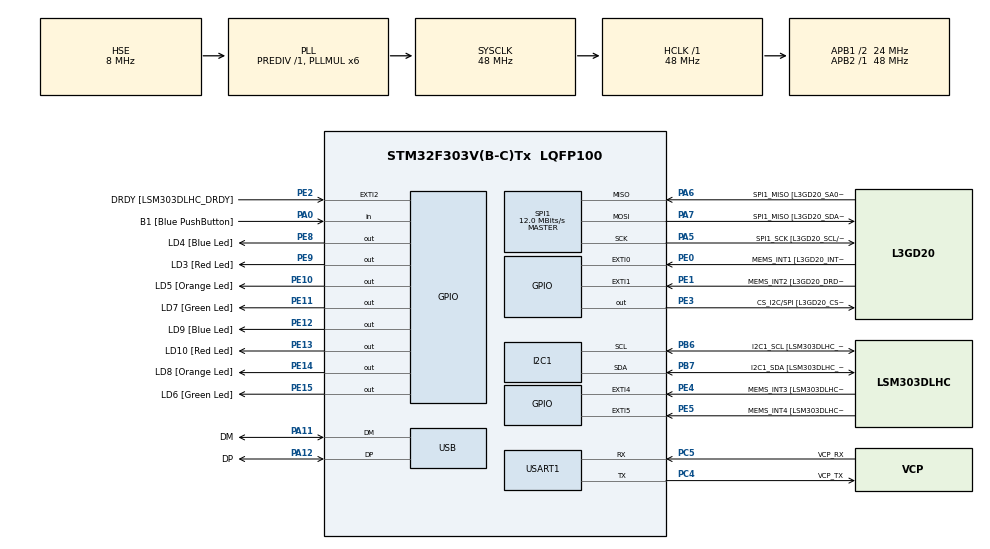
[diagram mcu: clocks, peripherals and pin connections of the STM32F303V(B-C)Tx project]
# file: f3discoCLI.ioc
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I2C1.Timing-I2C=0x2000090E
Mcu.Family=STM32F3
Mcu.Name=STM32F303V(B-C)Tx
Mcu.Package=LQFP100
NVIC.PriorityGroup=NVIC_PRIORITYGROUP_0
PA0.GPIO_Label=B1 [Blue PushButton]
PA0.Signal=GPIO_Input
PA11.GPIO_Label=DM
PA11.Mode=Device
PA11.Signal=USB_DM
PA12.GPIO_Label=DP
PA12.Mode=Device
PA12.Signal=USB_DP
PA13.GPIO_Label=SWDIO
PA13.Mode=Serial_Wire
PA13.Signal=SYS_JTMS-SWDIO
PA14.GPIO_Label=SWCLK
PA14.Mode=Serial_Wire
PA14.Signal=SYS_JTCK-SWCLK
PA5.GPIO_Label=SPI1_SCK [L3GD20_SCL/SPC]
PA5.Mode=Full_Duplex_Master
PA5.Signal=SPI1_SCK
PA6.GPIO_Label=SPI1_MISO [L3GD20_SA0/SDO]
PA6.Mode=Full_Duplex_Master
PA6.Signal=SPI1_MISO
PA7.GPIO_Label=SPI1_MISO [L3GD20_SDA/SDI/SDO]
PA7.Mode=Full_Duplex_Master
PA7.Signal=SPI1_MOSI
PB3.GPIO_Label=SWO
PB3.Signal=SYS_JTDO-TRACESWO
PB6.GPIO_Label=I2C1_SCL [LSM303DLHC_SCL]
PB6.GPIO_Pu=GPIO_PULLUP
PB6.Mode=I2C
PB6.Signal=I2C1_SCL
PB7.GPIO_Label=I2C1_SDA [LSM303DLHC_SDA]
PB7.GPIO_Pu=GPIO_PULLUP
PB7.Mode=I2C
PB7.Signal=I2C1_SDA
PC14-OSC32_IN.GPIO_Label=OSC32_IN
PC14-OSC32_IN.Signal=RCC_OSC32_IN
PC15-OSC32_OUT.GPIO_Label=OSC32_OUT
PC15-OSC32_OUT.Signal=RCC_OSC32_OUT
PC4.GPIO_Label=VCP_TX
PC4.Mode=Asynchronous
PC4.Signal=USART1_TX
PC5.GPIO_Label=VCP_RX
PC5.Mode=Asynchronous
PC5.Signal=USART1_RX
PE0.GPIO_Label=MEMS_INT1 [L3GD20_INT1]
PE0.GPIO_ModeDefaultEXTI=GPIO_MODE_EVT_RISING
PE0.Signal=GPXTI0
PE1.GPIO_Label=MEMS_INT2 [L3GD20_DRDY/INT2]
PE1.GPIO_ModeDefaultEXTI=GPIO_MODE_EVT_RISING
PE1.Signal=GPXTI1
PE10.GPIO_Label=LD5 [Orange Led]
PE10.Signal=GPIO_Output
PE11.GPIO_Label=LD7 [Green Led]
PE11.Signal=GPIO_Output
PE12.GPIO_Label=LD9 [Blue Led]
PE12.Signal=GPIO_Output
PE13.GPIO_Label=LD10 [Red Led]
PE13.Signal=GPIO_Output
PE14.GPIO_Label=LD8 [Orange Led]
PE14.Signal=GPIO_Output
PE15.GPIO_Label=LD6 [Green Led]
PE15.Signal=GPIO_Output
PE2.GPIO_Label=DRDY [LSM303DLHC_DRDY]
PE2.GPIO_ModeDefaultEXTI=GPIO_MODE_EVT_RISING
PE2.Signal=GPXTI2
PE3.GPIO_Label=CS_I2C/SPI [L3GD20_CS_I2C/SPI]
PE3.Signal=GPIO_Output
PE4.GPIO_Label=MEMS_INT3 [LSM303DLHC_INT1]
PE4.GPIO_ModeDefaultEXTI=GPIO_MODE_EVT_RISING
PE4.Signal=GPXTI4
PE5.GPIO_Label=MEMS_INT4 [LSM303DLHC_INT2]
PE5.GPIO_ModeDefaultEXTI=GPIO_MODE_EVT_RISING
PE5.Signal=GPXTI5
PE8.GPIO_Label=LD4 [Blue Led]
PE8.Signal=GPIO_Output
PE9.GPIO_Label=LD3 [Red Led]
PE9.Signal=GPIO_Output
PF0-OSC_IN.GPIO_Label=OSC_IN
PF0-OSC_IN.Mode=HSE-External-Clock-Source
PF0-OSC_IN.Signal=RCC_OSC_IN
PF1-OSC_OUT.GPIO_Label=OSC_OUT
PF1-OSC_OUT.Signal=RCC_OSC_OUT
ProjectManager.HeapSize=0x200
ProjectManager.StackSize=0x400
ProjectManager.TargetToolchain=STM32CubeIDE
RCC.AHBFreq_Value=48000000
RCC.APB1CLKDivider=RCC_HCLK_DIV2
RCC.APB1Freq_Value=24000000
RCC.APB1TimFreq_Value=48000000
RCC.APB2Freq_Value=48000000
RCC.APB2TimFreq_Value=48000000
RCC.CortexFreq_Value=48000000
RCC.HCLKFreq_Value=48000000
RCC.HSE_VALUE=8000000
RCC.HSI_VALUE=8000000
RCC.LSE_VALUE=32768
RCC.PLLMUL=RCC_PLL_MUL6
RCC.SYSCLKFreq_VALUE=48000000
RCC.SYSCLKSourceVirtual=RCC_SYSCLKSOURCE_PLLCLK
RCC.USBFreq_Value=48000000
SPI1.BaudRatePrescaler=SPI_BAUDRATEPRESCALER_4
SPI1.BaudRatePrescaler-Full_Duplex_Master=SPI_BAUDRATEPRESCALER_2
SPI1.CalculateBaudRate=12.0 MBits/s
SPI1.CalculateBaudRate-Full_Duplex_Master=24.0 MBits/s
SPI1.Direction=SPI_DIRECTION_2LINES
SPI1.Mode=SPI_MODE_MASTER
SPI1.Mode-Full_Duplex_Master=SPI_MODE_MASTER
SPI1.VirtualType=VM_MASTER
USART1.VirtualMode-Asynchronous=VM_ASYNC
board=STM32F3DISCOVERY

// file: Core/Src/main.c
/* USER CODE BEGIN Header */
/**
  ******************************************************************************
  * @file           : main.c
  * @brief          : Main program body
  ******************************************************************************
  * @attention
  *
  * Copyright (c) 2023 STMicroelectronics.
  * All rights reserved.
  *
  * This software is licensed under terms that can be found in the LICENSE file
  * in the root directory of this software component.
  * If no LICENSE file comes with this software, it is provided AS-IS.
  *
  ******************************************************************************
  */
/* USER CODE END Header */
#include "main.h"
#include "i2c.h"
#include "spi.h"
#include "usart.h"
#include "usb.h"
#include "gpio.h"

/* USER CODE BEGIN Includes */
#include <stdio.h>
#include <string.h>
#include "LedRelated.h"
/* USER CODE END Includes */

void SystemClock_Config(void);
/* USER CODE BEGIN PFP */
void USART1_SendString(const char* str);
int __io_putchar(int ch);
int __io_getchar(int ch);
int my_getchar(void);
/* USER CODE END PFP */

int main(void)
{

  /* MCU Configuration--------------------------------------------------------*/

  /* Reset of all peripherals, Initializes the Flash interface and the Systick. */
  HAL_Init();

  /* Configure the system clock */
  SystemClock_Config();

  /* Initialize all configured peripherals */
  MX_GPIO_Init();
  MX_I2C1_Init();
  MX_SPI1_Init();
  MX_USB_PCD_Init();
  MX_USART1_UART_Init();
  /* USER CODE BEGIN 2 */
  LedRoseSet();
  HAL_Delay(50);
  LedRoseToggle();

  USART1_SendString("Hello, World!\r\n");
  printf("Hi Dipak\r\n");
  printf("Hi Paul, John, George, Ringo \r\n");

  /* USER CODE END 2 */

  /* Infinite loop */
  while (1)
  {

    /* USER CODE BEGIN 3 */
	  //Call my_getchar to read characters interactively
	  //int ch;
	  //while ((ch = my_getchar()) != EOF) {
	  //  __io_putchar(ch); // Print the character received
	  ConsoleInit();

	  while(1)
	  {
		  ConsoleProcess();
	  }

  }
  /* USER CODE END 3 */
}

void SystemClock_Config(void)
{
  RCC_OscInitTypeDef RCC_OscInitStruct = {0};
  RCC_ClkInitTypeDef RCC_ClkInitStruct = {0};
  RCC_PeriphCLKInitTypeDef PeriphClkInit = {0};

  /** Initializes the RCC Oscillators according to the specified parameters
  * in the RCC_OscInitTypeDef structure.
  */
  RCC_OscInitStruct.OscillatorType = RCC_OSCILLATORTYPE_HSI|RCC_OSCILLATORTYPE_HSE;
  RCC_OscInitStruct.HSEState = RCC_HSE_BYPASS;
  RCC_OscInitStruct.HSEPredivValue = RCC_HSE_PREDIV_DIV1;
  RCC_OscInitStruct.HSIState = RCC_HSI_ON;
  RCC_OscInitStruct.HSICalibrationValue = RCC_HSICALIBRATION_DEFAULT;
  RCC_OscInitStruct.PLL.PLLState = RCC_PLL_ON;
  RCC_OscInitStruct.PLL.PLLSource = RCC_PLLSOURCE_HSE;
  RCC_OscInitStruct.PLL.PLLMUL = RCC_PLL_MUL6;
  if (HAL_RCC_OscConfig(&RCC_OscInitStruct) != HAL_OK)
  {
    Error_Handler();
  }

  /** Initializes the CPU, AHB and APB buses clocks
  */
  RCC_ClkInitStruct.ClockType = RCC_CLOCKTYPE_HCLK|RCC_CLOCKTYPE_SYSCLK
                              |RCC_CLOCKTYPE_PCLK1|RCC_CLOCKTYPE_PCLK2;
  RCC_ClkInitStruct.SYSCLKSource = RCC_SYSCLKSOURCE_PLLCLK;
  RCC_ClkInitStruct.AHBCLKDivider = RCC_SYSCLK_DIV1;
  RCC_ClkInitStruct.APB1CLKDivider = RCC_HCLK_DIV2;
  RCC_ClkInitStruct.APB2CLKDivider = RCC_HCLK_DIV1;

  if (HAL_RCC_ClockConfig(&RCC_ClkInitStruct, FLASH_LATENCY_1) != HAL_OK)
  {
    Error_Handler();
  }
  PeriphClkInit.PeriphClockSelection = RCC_PERIPHCLK_USB|RCC_PERIPHCLK_USART1
                              |RCC_PERIPHCLK_I2C1;
  PeriphClkInit.Usart1ClockSelection = RCC_USART1CLKSOURCE_PCLK2;
  PeriphClkInit.I2c1ClockSelection = RCC_I2C1CLKSOURCE_HSI;
  PeriphClkInit.USBClockSelection = RCC_USBCLKSOURCE_PLL;
  if (HAL_RCCEx_PeriphCLKConfig(&PeriphClkInit) != HAL_OK)
  {
    Error_Handler();
  }
}

/* USER CODE BEGIN 4 */
void USART1_SendString(const char* str) {
	HAL_UART_Transmit(&huart1, (uint8_t*)str, strlen(str), HAL_MAX_DELAY);
}
/**
  * @brief  Retargets the C library printf function to the USART.
  * @param  None
  * @retval None
  */
/*PUTCHAR_PROTOTYPE
{
   Place your implementation of fputc here
   e.g. write a character to the USART1 and Loop until the end of transmission
  HAL_UART_Transmit(&huart1, (uint8_t *)&ch, 1, 0xFFFF);

  return ch;
}*/

// these two functions are redefines that I added per Daniel
int __io_putchar(int ch){
	if (HAL_UART_Transmit(&huart1, (uint8_t*)&ch, 1, 0xFFFF) != HAL_OK)
		return -1;
	return 1;
}

/*
int __io_getchar(void){
	int c;
	HAL_UART_Receive(&huart1, (uint8_t*)&c, 1, 0xFFFF);
	return c;
}
*/

/*int my_getchar(void) {
	      return __io_getchar();
	  }*/
/* USER CODE END 4 */

void Error_Handler(void)
{
  __disable_irq();
  while (1)
  {
  }
}
